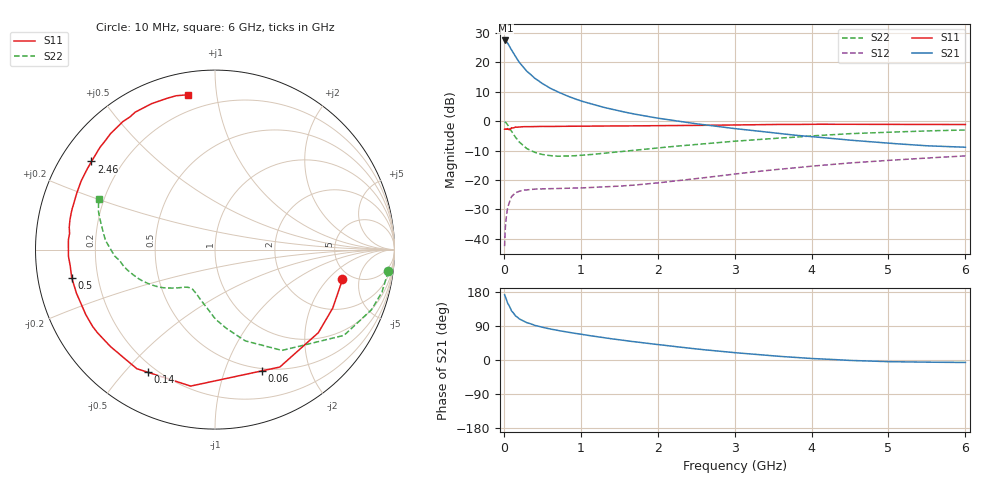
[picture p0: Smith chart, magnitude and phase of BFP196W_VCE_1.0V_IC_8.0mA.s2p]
! Infineon Technologies  Discrete & RF Semiconductors
! BFP196W
! VCE = 1.0 V,  IC = 8.0mA
! Common Emitter S-Parameters:  Jan 2016
# GHz  S  MA  R  50
!  f  S11  S21  S12  S22
! GHz  MAG  ANG  MAG  ANG  MAG  ANG  MAG  ANG
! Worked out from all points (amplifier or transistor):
!   210 points, 10 MHz to 6 GHz, reference 50 ohm
!   highest |S21| = 27.4 dB at 20 MHz (marker M1)
!   |S21| within 3 dB of that: start of sweep to 95.4 MHz
!   unconditionally stable (mu >= 1): 1.243 GHz to 3.52 GHz; 3.755 GHz to 3.811 GHz; 5.699 GHz to end of sweep
!   at 185 MHz: K = 0.19, MSG = 22.3 dB, |S12| = -24.0 dB
!   at 1.52 GHz: K = 1.15, MAG = 10.4 dB, |S12| = -22.1 dB
!   at 6 GHz: K = 1.02, MAG = 0.6 dB, |S12| = -11.8 dB
!   S11 on the Smith chart (normalised r, x): 10 MHz: 4.19, -2.98; 60 MHz: 0.47, -1.35; 140 MHz: 0.17, -0.58; 500 MHz: 0.10, -0.10; 2.46 GHz: 0.09, +0.32; 6 GHz: 0.11, +0.83
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0.01  0.7295 -13.2  23.35 172.1  0.0075 81.3  0.9725 -7.2
0.02  0.7325 -26.4  23.49 167.2  0.0157 78.1  0.96 -14.3
0.03  0.7388 -38.8  22.85 161.3  0.0222 72.2  0.9341 -21.0
0.05  0.7474 -61.1  21.19 149.8  0.0342 61.7  0.8631 -33.6
0.06  0.7245 -68.8  20.04 146.6  0.0374 56.8  0.8165 -37.3
0.1  0.7724 -100.1  16.28 129.6  0.0521 43.7  0.6744 -56.4
0.14  0.7795 -118.8  13.3 119.8  0.0587 35.3  0.5601 -68.0
0.15  0.7939 -123.3  12.63 116.7  0.0605 33.5  0.536 -71.6
0.2  0.7944 -137.2  10.01 108.6  0.0642 27.8  0.4423 -81.9
0.26  0.8051 -147.8  8.056 102.0  0.0672 23.6  0.3774 -90.8
0.3  0.806 -153.3  7.016 98.4  0.0681 21.8  0.3411 -95.6
0.4  0.8092 -162.5  5.377 91.5  0.0698 19.3  0.2957 -104.8
0.5  0.8136 -168.9  4.353 86.3  0.0706 18.5  0.2713 -111.4
0.7  0.8175 -177.5  3.151 78.1  0.0717 18.8  0.2537 -119.5
1.02  0.8163 173.2  2.169 67.5  0.0733 21.9  0.2633 -127.3
1.4  0.8276 164.6  1.596 56.0  0.0773 27.4  0.2929 -133.3
2.02  0.8381 152.4  1.114 40.4  0.0898 36.9  0.3514 -142.6
2.46  0.8454 144.5  0.917 30.2  0.1038 41.3  0.3972 -149.8
3.1  0.8649 133.6  0.724 17.7  0.1305 43.3  0.4655 -161.0
4.1  0.8848 118.8  0.531 3.1  0.176 40.2  0.5701 -178.2
5.1  0.8842 107.5  0.413 -4.6  0.2194 33.2  0.6545 166.6
6  0.8758 100.0  0.36 -6.5  0.2563 26.8  0.7062 156.7
